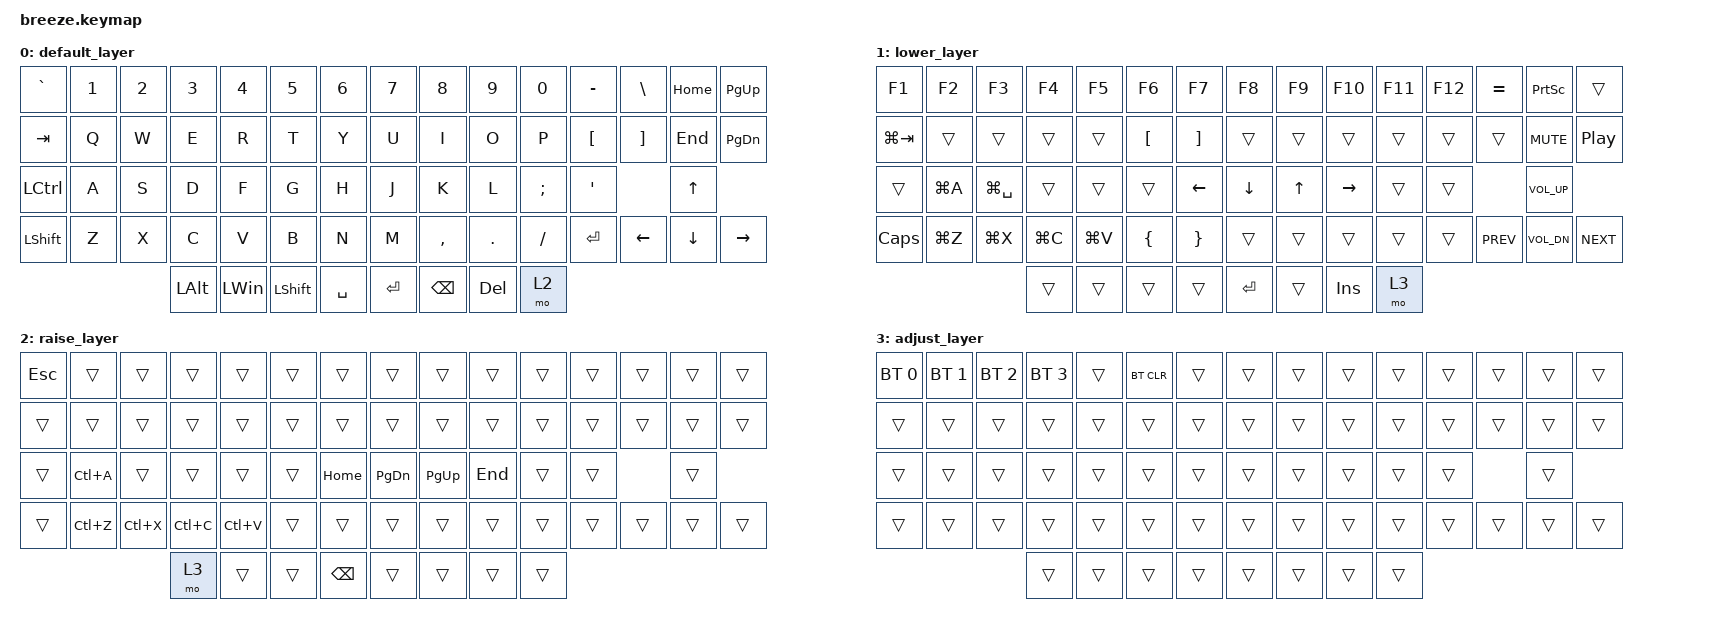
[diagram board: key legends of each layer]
/*
 * Copyright (c) 2022 The ZMK Contributors
 *
 * SPDX-License-Identifier: MIT
 */

#include <behaviors.dtsi>
#include <dt-bindings/zmk/bt.h>
#include <dt-bindings/zmk/keys.h>

/ {
    keymap {
        compatible = "zmk,keymap";

        default_layer {
            // Ref: https://zmkfirmware.dev/docs/codes/
            // ----------------------------------------------------------------------------------------------------------------------------------
            // |   `   |  1  |  2  |  3    |  4   |  5   |                               |  6   |  7    |  8    |  9   |   0   | -/_  | |  \  | HOME | PG UP|
            // |  TAB  |  Q  |  W  |  E    |  R   |  T   |                               |  Y   |  U    |  I    |  O   |   P   |  [   | |  ]  | END  | PG DN|
            // |  CTRL |  A  |  S  |  D    |  F   |  G   |                               |  H   |  J    |  K    |  L   |   ;   |  '   | |     |  UP  |      |
            // |  SHFT |  Z  |  X  |  C    |  V   |  B   |                               |  N   |  M    |  ,    |  .   |   /   |  RET | |  L  |  DN  |  R   |
            //                     | LOWER | ALT  | GUI  | LOWER/SPACE |   | RAISE/SPACE | BKSP | DEL   | RAISE |

            bindings = <
&kp GRAVE  &kp N1  &kp N2  &kp N3        &kp N4    &kp N5                                &kp N6    &kp N7   &kp N8     &kp N9   &kp N0    &kp MINUS  &kp BSLH  &kp HOME  &kp PG_UP
&kp TAB    &kp Q   &kp W   &kp E         &kp R     &kp T                                 &kp Y     &kp U    &kp I      &kp O    &kp P     &kp LBKT   &kp RBKT  &kp END   &kp PG_DN
&kp LCTRL  &kp A   &kp S   &kp D         &kp F     &kp G                                 &kp H     &kp J    &kp K      &kp L    &kp SEMI  &kp APOS             &kp UP
&kp LSHFT  &kp Z   &kp X   &kp C         &kp V     &kp B                                 &kp N     &kp M    &kp COMMA  &kp DOT  &kp FSLH  &kp RET    &kp LEFT  &kp DOWN  &kp RIGHT
                           &kp LEFT_ALT  &kp LWIN  &kp LEFT_SHIFT  &kp SPACE  &kp ENTER  &kp BSPC  &kp DEL  &mo 2
            >;
        };

        lower_layer {
            // ---------------------------------------------------------------------------------------------------------------------------------- 
            // |   F1  |  F2  |  F3 |  F4  |  F5   |  F6  |                   |  F7  |  F8  |  F9  |  F10 |  F11  |  F12  | |   =   | PSCRN|      | 
            // |CMD-TAB|      |     |      |       |  [   |                   |  ]   |      |      |      |       |       | |       | Mute | Play | 
            // |       | CMD-A|     |      |       |      |                   |  L   |  DN  |  UP  |  R   |       |       | |       | Vol+ |      | 
            // |  CAPS | CMD-Z| CUT | COPY | PASTE |  {   |                   |  }   |      |      |      |       |       | | Prev  | Vol- | Next | 
            //                      |      |       |      |        |  |  RET  |      |  INS |ADJUST|

            bindings = <
&kp F1       &kp F2     &kp F3         &kp F4     &kp F5     &kp F6                     &kp F7    &kp F8    &kp F9  &kp F10    &kp F11  &kp F12  &kp EQUAL   &kp PSCRN     &trans
&kp LG(TAB)  &trans     &trans         &trans     &trans     &kp LBKT                   &kp RBKT  &trans    &trans  &trans     &trans   &trans   &trans      &kp C_MUTE    &kp C_PLAY_PAUSE
&trans       &kp LG(A)  &kp LG(SPACE)  &trans     &trans     &trans                     &kp LEFT  &kp DOWN  &kp UP  &kp RIGHT  &trans   &trans               &kp C_VOL_UP
&kp CAPS     &kp LG(Z)  &kp LG(X)      &kp LG(C)  &kp LG(V)  &kp LBRC                   &kp RBRC  &trans    &trans  &trans     &trans   &trans   &kp C_PREV  &kp C_VOL_DN  &kp C_NEXT
                                       &trans     &trans     &trans    &trans  &kp RET  &trans    &kp INS   &mo 3
            >;
        };

        raise_layer {
            // ---------------------------------------------------------------------------------------------------------------------------------- 
            // | ESC |      |      |      |      |        |                   |      |      |      |      |       |       | |     |      |      | 
            // |     |      |      |      |      |        |                   |      |      |      |      |       |       | |     |      |      | 
            // |     |CTRL-A|      |      |      |        |                   | HOME | PGDN | PGUP | END  |       |       | |     |      |      | 
            // |     |CTRL-Z|CTRL-X|CTRL-C|CTRL-V|        |                   |      |      |      |      |       |       | |     |      |      | 
            //                     |      |      |        |  BKSP  |  |       |      |      |      |

            bindings = <
&kp ESC  &trans     &trans     &trans     &trans     &trans                    &trans    &trans     &trans     &trans   &trans  &trans  &trans  &trans  &trans
&trans   &trans     &trans     &trans     &trans     &trans                    &trans    &trans     &trans     &trans   &trans  &trans  &trans  &trans  &trans
&trans   &kp LC(A)  &trans     &trans     &trans     &trans                    &kp HOME  &kp PG_DN  &kp PG_UP  &kp END  &trans  &trans          &trans
&trans   &kp LC(Z)  &kp LC(X)  &kp LC(C)  &kp LC(V)  &trans                    &trans    &trans     &trans     &trans   &trans  &trans  &trans  &trans  &trans
                               &mo 3      &trans     &trans  &kp BSPC  &trans  &trans    &trans     &trans
            >;
        };

        adjust_layer {
            // ---------------------------------------------------------------------------------------------------------------------------------- 
            // | BT1 | BT2 | BT3 | BT4  |      | BT_CLR |                   |      |       |       |      |       |       | |     |      |      | 
            // |     |     |     |      |      |        |                   |      |       |       |      |       |       | |     |      |      | 
            // |     |     |     |      |      |        |                   |      |       |       |      |       |       | |     |      |      | 
            // |     |     |     |      |      |        |                   |      |       |       |      |       |       | |     |      |      | 
            //                   |      |      |        |        |  |       |      |       |       |

            bindings = <
&bt BT_SEL 0  &bt BT_SEL 1  &bt BT_SEL 2  &bt BT_SEL 3  &trans  &bt BT_CLR                  &trans  &trans  &trans  &trans  &trans  &trans  &trans  &trans  &trans
&trans        &trans        &trans        &trans        &trans  &trans                      &trans  &trans  &trans  &trans  &trans  &trans  &trans  &trans  &trans
&trans        &trans        &trans        &trans        &trans  &trans                      &trans  &trans  &trans  &trans  &trans  &trans          &trans
&trans        &trans        &trans        &trans        &trans  &trans                      &trans  &trans  &trans  &trans  &trans  &trans  &trans  &trans  &trans
                                          &trans        &trans  &trans      &trans  &trans  &trans  &trans  &trans
            >;
        };
    };
};
